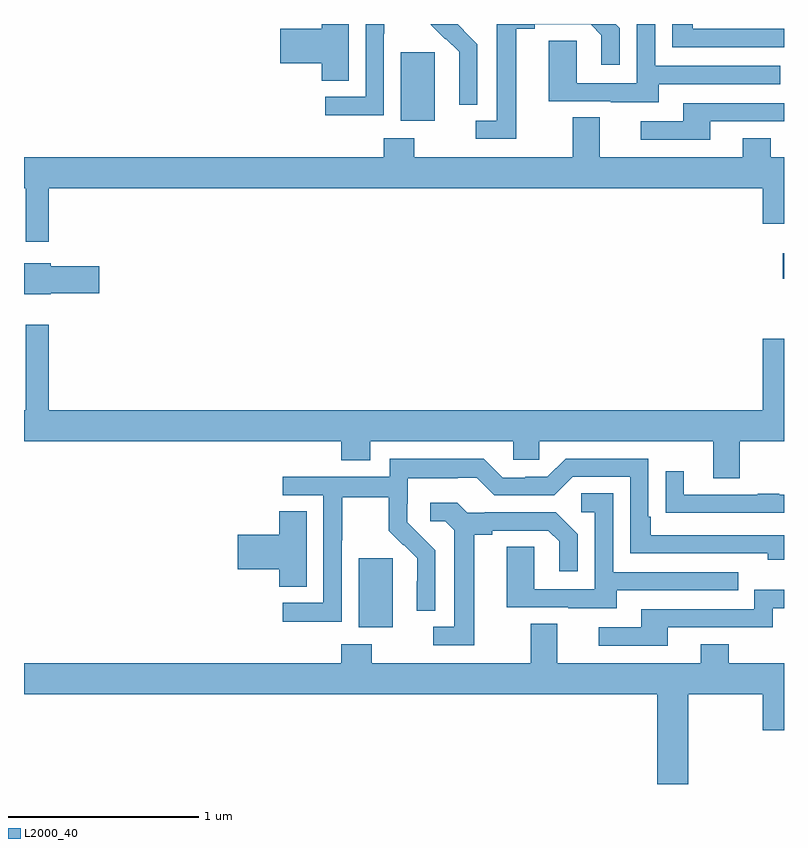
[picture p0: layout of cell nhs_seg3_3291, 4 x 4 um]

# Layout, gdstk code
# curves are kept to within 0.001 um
import gdstk
lib = gdstk.Library(unit=1e-6, precision=1e-09)
def R(c, l, rs):  # rectangles x0, y0, x1, y1
    for r in rs: c.add(gdstk.rectangle(r[:2], r[2:], *l))
def P(c, l, *ps):  # polygons
    for p in ps: c.add(gdstk.Polygon(p, *l))
L2000_40 = (2000, 40)

nhs_seg3_3291 = lib.new_cell('nhs_seg3_3291')
R(nhs_seg3_3291, L2000_40, [(282.761,745.226,282.94,745.587), (284.994,747.059,285,747.193), (282.983,747.89,283.162,748.251)])
P(nhs_seg3_3291, L2000_40, [(282.894,748.348),(282.897,748.348),(282.897,748.4),(282.798,748.4),(282.798,748.017),(282.585,748.017),(282.585,747.919),(282.894,747.919)],
  [(283.591,748.376),(283.687,748.376),(283.687,748.398),(283.982,748.398),(284.039,748.341),(284.039,748.185),(284.136,748.185),(284.136,748.378),(284.114,748.4),(283.486,748.4),(283.487,747.891),(283.377,747.891),(283.377,747.795),(283.591,747.795)],
  [(284.341,748.083),(284.981,748.083),(284.981,748.179),(284.322,748.179),(284.322,748.4),(284.226,748.4),(284.226,748.089),(283.908,748.089),(283.908,748.313),(283.763,748.313),(283.763,747.993),(284.087,747.993),(284.087,747.989),(284.341,747.989)],
  [(285,748.374),(284.521,748.374),(284.521,748.4),(284.412,748.4),(284.412,748.278),(285,748.278)],
  [(283.386,748.294),(283.282,748.4),(283.141,748.4),(283.141,748.397),(283.218,748.32),(283.221,748.323),(283.292,748.253),(283.292,748.13),(283.29,748.13),(283.29,747.976),(283.386,747.976)],
  [(282.709,748.4),(282.566,748.4),(282.566,748.376),(282.348,748.376),(282.348,748.193),(282.566,748.193),(282.566,748.102),(282.709,748.102)],
  [(284.611,747.888),(285,747.888),(285,747.984),(284.471,747.984),(284.471,747.888),(284.247,747.888),(284.247,747.792),(284.611,747.792)],
  [(281.131,747.536),(284.888,747.536),(284.888,747.348),(285,747.348),(285,747.7),(284.931,747.7),(284.931,747.799),(284.783,747.799),(284.783,747.7),(284.029,747.7),(284.029,747.908),(283.889,747.908),(283.889,747.7),(283.053,747.7),(283.053,747.799),(282.893,747.799),(282.893,747.7),(281,747.7),(281,747.536),(281.009,747.536),(281.009,747.255),(281.131,747.255)],
  [(281.142,746.984),(281.395,746.984),(281.395,747.126),(281.142,747.126),(281.142,747.142),(281,747.142),(281,746.978),(281.142,746.978)],
  [(284.767,746.204),(285,746.204),(285,746.743),(284.888,746.743),(284.888,746.368),(281.131,746.368),(281.131,746.818),(281.009,746.818),(281.009,746.368),(281,746.368),(281,746.204),(282.671,746.204),(282.671,746.105),(282.823,746.105),(282.823,746.204),(283.575,746.204),(283.575,746.106),(283.713,746.106),(283.713,746.204),(284.627,746.204),(284.627,746.01),(284.767,746.01)],
  [(282.672,745.684),(282.675,745.684),(282.675,745.908),(282.919,745.908),(282.919,745.733),(282.996,745.656),(282.999,745.659),(283.07,745.589),(283.07,745.466),(283.068,745.466),(283.068,745.312),(283.164,745.312),(283.164,745.63),(283.018,745.778),(283.018,745.875),(283.02,745.875),(283.02,746.009),(283.283,746.009),(283.283,746.013),(283.383,746.013),(283.476,745.92),(283.791,745.92),(283.887,746.016),(284.19,746.016),(284.19,745.614),(284.915,745.614),(284.915,745.58),(285,745.58),(285,745.71),(284.299,745.71),(284.299,745.807),(284.286,745.807),(284.286,746.112),(283.851,746.112),(283.755,746.016),(283.637,746.016),(283.637,746.013),(283.521,746.013),(283.421,746.113),(282.924,746.113),(282.924,746.016),(282.363,746.016),(282.363,745.92),(282.576,745.92),(282.576,745.353),(282.363,745.353),(282.363,745.255),(282.672,745.255)],
  [(285,745.923),(284.975,745.923),(284.975,745.928),(284.863,745.928),(284.863,745.923),(284.473,745.923),(284.473,746.047),(284.377,746.047),(284.377,745.828),(284.479,745.828),(284.479,745.827),(285,745.827)],
  [(284.119,745.419),(284.759,745.419),(284.759,745.515),(284.1,745.515),(284.1,745.931),(283.932,745.931),(283.932,745.83),(284.004,745.83),(284.004,745.425),(283.686,745.425),(283.686,745.649),(283.541,745.649),(283.541,745.329),(283.865,745.329),(283.865,745.325),(284.119,745.325)],
  [(283.369,745.712),(283.465,745.712),(283.465,745.734),(283.76,745.734),(283.817,745.677),(283.817,745.521),(283.914,745.521),(283.914,745.714),(283.798,745.83),(283.426,745.83),(283.426,745.827),(283.332,745.827),(283.28,745.879),(283.137,745.879),(283.137,745.782),(283.218,745.782),(283.265,745.735),(283.265,745.227),(283.155,745.227),(283.155,745.131),(283.369,745.131)],
  [(282.487,745.835),(282.344,745.835),(282.344,745.712),(282.126,745.712),(282.126,745.529),(282.344,745.529),(282.344,745.438),(282.487,745.438)],
  [(284.389,745.224),(284.94,745.224),(284.94,745.326),(285,745.326),(285,745.423),(284.844,745.423),(284.844,745.32),(284.249,745.32),(284.249,745.224),(284.025,745.224),(284.025,745.128),(284.389,745.128)],
  [(284.497,744.872),(284.888,744.872),(284.888,744.684),(285,744.684),(285,745.036),(284.709,745.036),(284.709,745.135),(284.561,745.135),(284.561,745.036),(283.807,745.036),(283.807,745.244),(283.667,745.244),(283.667,745.036),(282.831,745.036),(282.831,745.135),(282.671,745.135),(282.671,745.036),(281,745.036),(281,744.872),(284.333,744.872),(284.333,744.4),(284.497,744.4)])

lib.write_gds('nhs_seg3_3291.gds')
